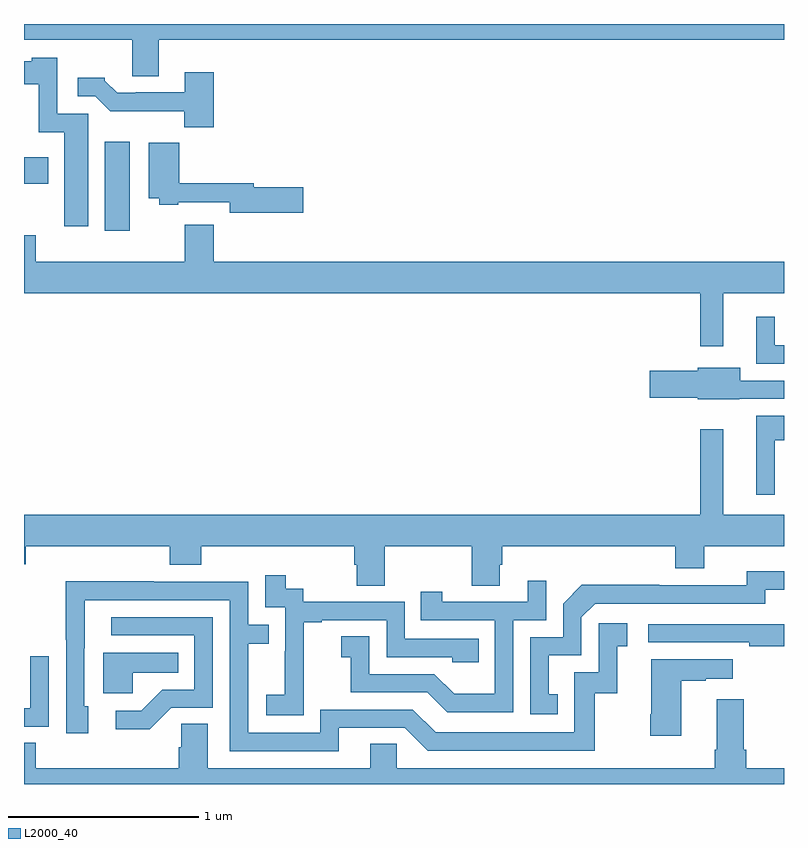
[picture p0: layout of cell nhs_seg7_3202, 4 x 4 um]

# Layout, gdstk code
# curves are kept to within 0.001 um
import gdstk
lib = gdstk.Library(unit=1e-6, precision=1e-09)
def R(c, l, rs):  # rectangles x0, y0, x1, y1
    for r in rs: c.add(gdstk.rectangle(r[:2], r[2:], *l))
def P(c, l, *ps):  # polygons
    for p in ps: c.add(gdstk.Polygon(p, *l))
L2000_40 = (2000, 40)

nhs_seg7_3202 = lib.new_cell('nhs_seg7_3202')
R(nhs_seg7_3202, L2000_40, [(315.425,1032.912,315.556,1033.381), (315,1033.16,315.127,1033.3)])
P(nhs_seg7_3202, L2000_40, [(315,1033.916),(315.569,1033.916),(315.569,1033.726),(315.709,1033.726),(315.709,1033.916),(319,1033.916),(319,1034),(315,1034)],
  [(315.337,1033.527),(315.174,1033.527),(315.174,1033.822),(315.042,1033.822),(315.042,1033.804),(315,1033.804),(315,1033.682),(315.078,1033.682),(315.078,1033.43),(315.212,1033.43),(315.212,1032.936),(315.337,1032.936)],
  [(315.998,1033.747),(315.845,1033.747),(315.845,1033.641),(315.589,1033.641),(315.589,1033.638),(315.49,1033.638),(315.426,1033.702),(315.426,1033.717),(315.282,1033.717),(315.282,1033.62),(315.375,1033.62),(315.454,1033.542),(315.843,1033.542),(315.843,1033.457),(315.998,1033.457)],
  [(316.471,1033.142),(316.21,1033.142),(316.21,1033.163),(315.818,1033.163),(315.818,1033.375),(315.656,1033.375),(315.656,1033.082),(315.711,1033.082),(315.711,1033.05),(315.811,1033.05),(315.811,1033.062),(316.082,1033.062),(316.082,1033.007),(316.471,1033.007)],
  [(318.679,1032.584),(319,1032.584),(319,1032.748),(315.998,1032.748),(315.998,1032.943),(315.845,1032.943),(315.845,1032.748),(315.062,1032.748),(315.062,1032.889),(315,1032.889),(315,1032.584),(318.558,1032.584),(318.558,1032.303),(318.679,1032.303)],
  [(319,1032.309),(318.952,1032.309),(318.952,1032.46),(318.854,1032.46),(318.854,1032.213),(319,1032.213)],
  [(318.765,1032.027),(319,1032.027),(319,1032.123),(318.769,1032.123),(318.769,1032.19),(318.546,1032.19),(318.546,1032.174),(318.294,1032.174),(318.294,1032.032),(318.546,1032.032),(318.546,1032.026),(318.765,1032.026)],
  [(318.952,1031.81),(319,1031.81),(319,1031.938),(318.854,1031.938),(318.854,1031.523),(318.952,1031.523)],
  [(316.899,1031.252),(317.356,1031.252),(317.356,1031.044),(317.503,1031.044),(317.503,1031.154),(317.516,1031.154),(317.516,1031.252),(318.428,1031.252),(318.428,1031.135),(318.58,1031.135),(318.58,1031.252),(319,1031.252),(319,1031.416),(318.679,1031.416),(318.679,1031.866),(318.558,1031.866),(318.558,1031.416),(315,1031.416),(315,1031.156),(315.008,1031.156),(315.008,1031.252),(315.767,1031.252),(315.767,1031.153),(315.932,1031.153),(315.932,1031.252),(316.739,1031.252),(316.739,1031.154),(316.751,1031.154),(316.751,1031.044),(316.899,1031.044)],
  [(317.81,1030.473),(317.761,1030.473),(317.761,1030.677),(317.934,1030.677),(317.934,1030.878),(318.006,1030.95),(318.9,1030.95),(318.9,1031.022),(319,1031.022),(319,1031.119),(318.804,1031.119),(318.804,1031.046),(318.344,1031.046),(318.344,1031.048),(317.936,1031.048),(317.838,1030.95),(317.838,1030.773),(317.664,1030.773),(317.664,1030.368),(317.81,1030.368)],
  [(316.473,1030.567),(316.472,1030.567),(316.472,1030.851),(316.567,1030.851),(316.567,1030.863),(316.908,1030.863),(316.908,1030.668),(317.253,1030.668),(317.253,1030.641),(317.393,1030.641),(317.393,1030.764),(317.004,1030.764),(317.004,1030.959),(316.47,1030.959),(316.47,1031.028),(316.378,1031.028),(316.378,1031.098),(316.269,1031.098),(316.269,1030.929),(316.374,1030.929),(316.374,1030.7),(316.373,1030.7),(316.373,1030.471),(316.275,1030.471),(316.275,1030.361),(316.473,1030.361)],
  [(317.574,1030.863),(317.748,1030.863),(317.748,1031.071),(317.651,1031.071),(317.651,1030.959),(317.2,1030.959),(317.2,1031.011),(317.089,1031.011),(317.089,1030.863),(317.478,1030.863),(317.478,1030.474),(317.264,1030.474),(317.16,1030.578),(316.818,1030.578),(316.818,1030.777),(316.671,1030.777),(316.671,1030.667),(316.72,1030.667),(316.72,1030.482),(317.123,1030.482),(317.228,1030.377),(317.574,1030.377)],
  [(316.657,1030.296),(317.004,1030.296),(317.124,1030.176),(318.004,1030.176),(318.004,1030.478),(318.122,1030.478),(318.122,1030.725),(318.175,1030.725),(318.175,1030.846),(318.024,1030.846),(318.024,1030.587),(317.895,1030.587),(317.895,1030.272),(317.166,1030.272),(317.046,1030.392),(316.56,1030.392),(316.56,1030.269),(316.179,1030.269),(316.179,1030.738),(316.289,1030.738),(316.289,1030.839),(316.179,1030.839),(316.179,1031.064),(315.683,1031.064),(315.683,1031.066),(315.22,1031.066),(315.22,1030.759),(315.222,1030.759),(315.222,1030.266),(315.337,1030.266),(315.337,1030.41),(315.318,1030.41),(315.319,1030.968),(316.083,1030.968),(316.083,1030.173),(316.657,1030.173)],
  [(315.774,1030.401),(315.993,1030.401),(315.993,1030.878),(315.459,1030.878),(315.459,1030.782),(315.897,1030.782),(315.897,1030.497),(315.728,1030.497),(315.617,1030.386),(315.483,1030.386),(315.483,1030.289),(315.661,1030.289)],
  [(319,1030.842),(318.285,1030.842),(318.285,1030.746),(318.817,1030.746),(318.817,1030.726),(319,1030.726)],
  [(315.573,1030.586),(315.812,1030.586),(315.812,1030.69),(315.416,1030.69),(315.416,1030.478),(315.573,1030.478)],
  [(315.129,1030.672),(315.033,1030.672),(315.033,1030.398),(315,1030.398),(315,1030.302),(315.129,1030.302)],
  [(318.46,1030.543),(318.587,1030.543),(318.587,1030.553),(318.73,1030.553),(318.73,1030.657),(318.302,1030.657),(318.302,1030.366),(318.295,1030.366),(318.295,1030.254),(318.46,1030.254)],
  [(316.823,1030.211),(316.823,1030.084),(315.967,1030.084),(315.967,1030.316),(315.828,1030.316),(315.828,1030.193),(315.815,1030.193),(315.815,1030.084),(315.062,1030.084),(315.062,1030.217),(315,1030.217),(315,1030),(319,1030),(319,1030.084),(318.8,1030.084),(318.8,1030.18),(318.787,1030.18),(318.787,1030.447),(318.647,1030.447),(318.647,1030.18),(318.635,1030.18),(318.635,1030.084),(316.962,1030.084),(316.962,1030.211)])

lib.write_gds('nhs_seg7_3202.gds')
